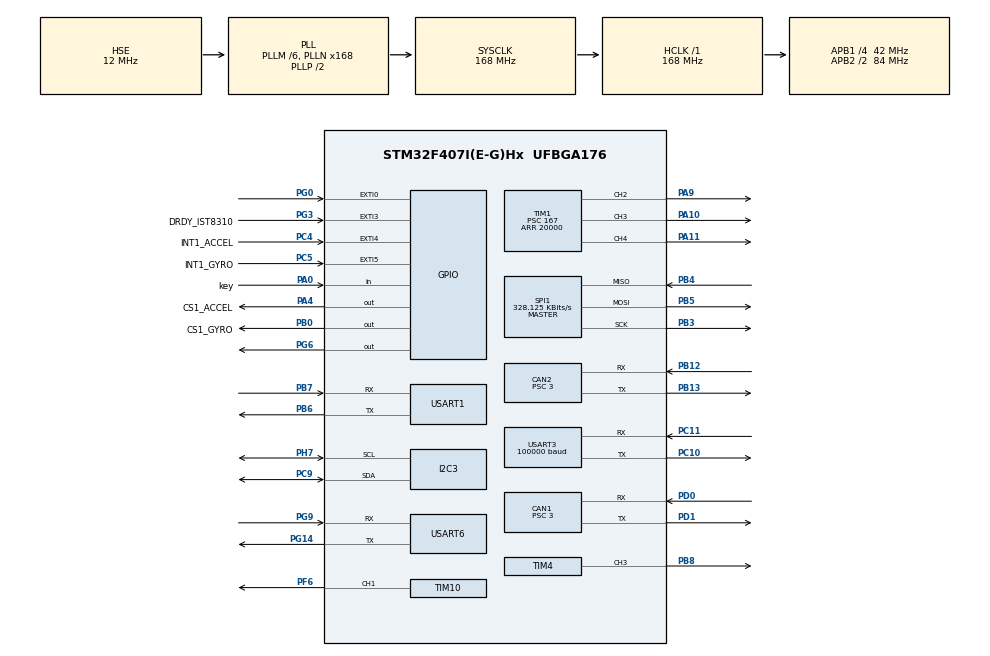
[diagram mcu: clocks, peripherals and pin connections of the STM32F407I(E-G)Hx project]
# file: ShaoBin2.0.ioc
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CAN1.ABOM=ENABLE
CAN1.AWUM=ENABLE
CAN1.BS1=CAN_BS1_9TQ
CAN1.BS2=CAN_BS2_4TQ
CAN1.CalculateBaudRate=1000000
CAN1.CalculateTimeBit=1000
CAN1.CalculateTimeQuantum=71.42857142857143
CAN1.NART=ENABLE
CAN1.Prescaler=3
CAN2.ABOM=ENABLE
CAN2.AWUM=ENABLE
CAN2.BS1=CAN_BS1_9TQ
CAN2.BS2=CAN_BS2_4TQ
CAN2.CalculateBaudRate=1000000
CAN2.CalculateTimeBit=1000
CAN2.CalculateTimeQuantum=71.42857142857143
CAN2.NART=ENABLE
CAN2.Prescaler=3
Dma.Request0=SPI1_RX
Dma.Request1=SPI1_TX
Dma.Request2=USART3_RX
Dma.SPI1_RX.0.Direction=DMA_PERIPH_TO_MEMORY
Dma.SPI1_RX.0.FIFOMode=DMA_FIFOMODE_DISABLE
Dma.SPI1_RX.0.Instance=DMA2_Stream2
Dma.SPI1_RX.0.MemDataAlignment=DMA_MDATAALIGN_BYTE
Dma.SPI1_RX.0.MemInc=DMA_MINC_ENABLE
Dma.SPI1_RX.0.Mode=DMA_NORMAL
Dma.SPI1_RX.0.PeriphDataAlignment=DMA_PDATAALIGN_BYTE
Dma.SPI1_RX.0.PeriphInc=DMA_PINC_DISABLE
Dma.SPI1_RX.0.Priority=DMA_PRIORITY_VERY_HIGH
Dma.SPI1_TX.1.Direction=DMA_MEMORY_TO_PERIPH
Dma.SPI1_TX.1.FIFOMode=DMA_FIFOMODE_DISABLE
Dma.SPI1_TX.1.Instance=DMA2_Stream3
Dma.SPI1_TX.1.MemDataAlignment=DMA_MDATAALIGN_BYTE
Dma.SPI1_TX.1.MemInc=DMA_MINC_ENABLE
Dma.SPI1_TX.1.Mode=DMA_NORMAL
Dma.SPI1_TX.1.PeriphDataAlignment=DMA_PDATAALIGN_BYTE
Dma.SPI1_TX.1.PeriphInc=DMA_PINC_DISABLE
Dma.SPI1_TX.1.Priority=DMA_PRIORITY_HIGH
Dma.USART3_RX.2.Direction=DMA_PERIPH_TO_MEMORY
Dma.USART3_RX.2.FIFOMode=DMA_FIFOMODE_DISABLE
Dma.USART3_RX.2.Instance=DMA1_Stream1
Dma.USART3_RX.2.MemDataAlignment=DMA_MDATAALIGN_BYTE
Dma.USART3_RX.2.MemInc=DMA_MINC_ENABLE
Dma.USART3_RX.2.Mode=DMA_CIRCULAR
Dma.USART3_RX.2.PeriphDataAlignment=DMA_PDATAALIGN_BYTE
Dma.USART3_RX.2.PeriphInc=DMA_PINC_DISABLE
Dma.USART3_RX.2.Priority=DMA_PRIORITY_LOW
FREERTOS.INCLUDE_eTaskGetState=1
FREERTOS.INCLUDE_pcTaskGetTaskName=1
FREERTOS.INCLUDE_uxTaskGetStackHighWaterMark=1
FREERTOS.INCLUDE_uxTaskGetStackHighWaterMark2=1
FREERTOS.INCLUDE_vTaskCleanUpResources=1
FREERTOS.INCLUDE_vTaskDelayUntil=1
FREERTOS.INCLUDE_xQueueGetMutexHolder=1
FREERTOS.INCLUDE_xSemaphoreGetMutexHolder=1
FREERTOS.INCLUDE_xTaskAbortDelay=1
FREERTOS.INCLUDE_xTaskGetCurrentTaskHandle=1
FREERTOS.INCLUDE_xTaskGetHandle=1
FREERTOS.Tasks01=Gimbal,0,128,Gimbal_task,As weak,NULL,Dynamic,NULL,NULL;IMU_Send_Task,2,128,IMU_Send,Default,NULL,Dynamic,NULL,NULL;imuTask,1,512,INS_task,As external,NULL,Dynamic,NULL,NULL;cali,-2,512,calibrate_task,As external,NULL,Dynamic,NULL,NULL;Gimbal1,-2,128,Gimbal1_Task,Default,NULL,Dynamic,NULL,NULL;ControlTask,0,512,Control_Task,Default,NULL,Dynamic,NULL,NULL
I2C3.I2C_Mode=I2C_Fast
Mcu.Family=STM32F4
Mcu.Name=STM32F407I(E-G)Hx
Mcu.Package=UFBGA176
NVIC.CAN1_RX0_IRQn=true\:6\:0\:true\:false\:true\:true\:true\:true\:true
NVIC.CAN1_RX1_IRQn=true\:5\:0\:false\:false\:true\:true\:true\:true\:true
NVIC.CAN2_RX0_IRQn=true\:6\:0\:true\:false\:true\:true\:true\:true\:true
NVIC.CAN2_RX1_IRQn=true\:5\:0\:false\:false\:true\:true\:true\:true\:true
NVIC.DMA1_Stream1_IRQn=true\:5\:0\:false\:false\:true\:true\:false\:true\:true
NVIC.DMA2_Stream2_IRQn=true\:5\:0\:false\:false\:true\:false\:false\:true\:true
NVIC.DMA2_Stream3_IRQn=true\:5\:0\:false\:false\:true\:true\:false\:true\:true
NVIC.EXTI0_IRQn=true\:6\:0\:true\:false\:true\:true\:true\:true\:true
NVIC.EXTI3_IRQn=true\:5\:0\:false\:false\:true\:true\:true\:true\:true
NVIC.EXTI4_IRQn=true\:5\:0\:false\:false\:true\:true\:true\:true\:true
NVIC.EXTI9_5_IRQn=true\:5\:0\:false\:false\:true\:true\:true\:true\:true
NVIC.PriorityGroup=NVIC_PRIORITYGROUP_4
NVIC.TIM6_DAC_IRQn=true\:15\:0\:false\:false\:true\:false\:false\:true\:true
NVIC.TimeBase=TIM6_DAC_IRQn
NVIC.TimeBaseIP=TIM6
NVIC.USART1_IRQn=true\:5\:0\:false\:false\:true\:true\:true\:true\:true
NVIC.USART3_IRQn=true\:5\:0\:false\:false\:true\:true\:true\:true\:true
NVIC.USART6_IRQn=true\:5\:0\:false\:false\:true\:true\:true\:true\:true
PA0-WKUP.GPIO_Label=key
PA0-WKUP.GPIO_PuPd=GPIO_PULLUP
PA0-WKUP.Signal=GPIO_Input
PA10.Signal=S_TIM1_CH3
PA11.Signal=S_TIM1_CH4
PA13.Mode=Serial_Wire
PA13.Signal=SYS_JTMS-SWDIO
PA14.Mode=Serial_Wire
PA14.Signal=SYS_JTCK-SWCLK
PA4.GPIO_Label=CS1_ACCEL
PA4.GPIO_PuPd=GPIO_PULLUP
PA4.GPIO_Speed=GPIO_SPEED_FREQ_HIGH
PA4.PinState=GPIO_PIN_SET
PA4.Signal=GPIO_Output
PA9.Signal=S_TIM1_CH2
PB0.GPIO_Label=CS1_GYRO
PB0.GPIO_PuPd=GPIO_PULLUP
PB0.GPIO_Speed=GPIO_SPEED_FREQ_HIGH
PB0.PinState=GPIO_PIN_SET
PB0.Signal=GPIO_Output
PB12.Mode=CAN_Activate
PB12.Signal=CAN2_RX
PB13.Mode=CAN_Activate
PB13.Signal=CAN2_TX
PB3.Mode=Full_Duplex_Master
PB3.Signal=SPI1_SCK
PB4.Mode=Full_Duplex_Master
PB4.Signal=SPI1_MISO
PB5.Mode=Full_Duplex_Master
PB5.Signal=SPI1_MOSI
PB6.Mode=Asynchronous
PB6.Signal=USART1_TX
PB7.Mode=Asynchronous
PB7.Signal=USART1_RX
PB8.Signal=S_TIM4_CH3
PC10.Mode=Asynchronous
PC10.Signal=USART3_TX
PC11.Mode=Asynchronous
PC11.Signal=USART3_RX
PC4.GPIO_Label=INT1_ACCEL
PC4.GPIO_ModeDefaultEXTI=GPIO_MODE_IT_FALLING
PC4.GPIO_PuPd=GPIO_PULLUP
PC4.Signal=GPXTI4
PC5.GPIO_Label=INT1_GYRO
PC5.GPIO_ModeDefaultEXTI=GPIO_MODE_IT_FALLING
PC5.GPIO_PuPd=GPIO_PULLUP
PC5.Signal=GPXTI5
PC9.Mode=I2C
PC9.Signal=I2C3_SDA
PD0.Mode=CAN_Activate
PD0.Signal=CAN1_RX
PD1.Mode=CAN_Activate
PD1.Signal=CAN1_TX
PF6.Signal=S_TIM10_CH1
PG0.GPIO_ModeDefaultEXTI=GPIO_MODE_IT_FALLING
PG0.GPIO_PuPd=GPIO_PULLUP
PG0.Signal=GPXTI0
PG14.Mode=Asynchronous
PG14.Signal=USART6_TX
PG3.GPIO_Label=DRDY_IST8310
PG3.GPIO_ModeDefaultEXTI=GPIO_MODE_IT_FALLING
PG3.GPIO_PuPd=GPIO_PULLUP
PG3.Signal=GPXTI3
PG6.Signal=GPIO_Output
PG9.Mode=Asynchronous
PG9.Signal=USART6_RX
PH0-OSC_IN.Mode=HSE-External-Oscillator
PH0-OSC_IN.Signal=RCC_OSC_IN
PH1-OSC_OUT.Mode=HSE-External-Oscillator
PH1-OSC_OUT.Signal=RCC_OSC_OUT
PH7.Mode=I2C
PH7.Signal=I2C3_SCL
ProjectManager.HeapSize=0x200
ProjectManager.StackSize=0x400
ProjectManager.TargetToolchain=MDK-ARM V5.32
RCC.48MHZClocksFreq_Value=84000000
RCC.AHBFreq_Value=168000000
RCC.APB1CLKDivider=RCC_HCLK_DIV4
RCC.APB1Freq_Value=42000000
RCC.APB1TimFreq_Value=84000000
RCC.APB2CLKDivider=RCC_HCLK_DIV2
RCC.APB2Freq_Value=84000000
RCC.APB2TimFreq_Value=168000000
RCC.CortexFreq_Value=168000000
RCC.HCLKFreq_Value=168000000
RCC.HSE_VALUE=12000000
RCC.HSI_VALUE=16000000
RCC.LSE_VALUE=32768
RCC.PLLM=6
RCC.PLLN=168
RCC.PLLSourceVirtual=RCC_PLLSOURCE_HSE
RCC.SYSCLKFreq_VALUE=168000000
RCC.SYSCLKSource=RCC_SYSCLKSOURCE_PLLCLK
RCC.VCOOutputFreq_Value=336000000
SH.S_TIM10_CH1.0=TIM10_CH1,PWM Generation1 CH1
SH.S_TIM1_CH2.0=TIM1_CH2,PWM Generation2 CH2
SH.S_TIM1_CH3.0=TIM1_CH3,PWM Generation3 CH3
SH.S_TIM1_CH4.0=TIM1_CH4,PWM Generation4 CH4
SH.S_TIM4_CH3.0=TIM4_CH3,PWM Generation3 CH3
SPI1.BaudRatePrescaler=SPI_BAUDRATEPRESCALER_256
SPI1.CLKPhase=SPI_PHASE_2EDGE
SPI1.CLKPolarity=SPI_POLARITY_HIGH
SPI1.CalculateBaudRate=328.125 KBits/s
SPI1.Direction=SPI_DIRECTION_2LINES
SPI1.Mode=SPI_MODE_MASTER
SPI1.VirtualType=VM_MASTER
TIM1.Channel-PWM\ Generation2\ CH2=TIM_CHANNEL_2
TIM1.Channel-PWM\ Generation3\ CH3=TIM_CHANNEL_3
TIM1.Channel-PWM\ Generation4\ CH4=TIM_CHANNEL_4
TIM1.Period=20000
TIM1.Prescaler=167
TIM10.Channel=TIM_CHANNEL_1
TIM10.Period=0
TIM4.Channel-PWM\ Generation3\ CH3=TIM_CHANNEL_3
TIM4.Period=370
TIM4.Prescaler=130
USART1.VirtualMode=VM_ASYNC
USART3.BaudRate=100000
USART3.Parity=PARITY_EVEN
USART3.VirtualMode=VM_ASYNC
USART3.WordLength=WORDLENGTH_9B
USART6.VirtualMode=VM_ASYNC
VP_FREERTOS_VS_CMSIS_V1.Mode=CMSIS_V1
VP_SYS_VS_tim6.Mode=TIM6
VP_TIM10_VS_ClockSourceINT.Mode=Enable_Timer
VP_TIM4_VS_ClockSourceINT.Mode=Internal
board=custom

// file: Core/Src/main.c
/* USER CODE BEGIN Header */
/**
  ******************************************************************************
  * @file           : main.c
  * @brief          : Main program body
  ******************************************************************************
  * @attention
  *
  * Copyright (c) 2024 STMicroelectronics.
  * All rights reserved.
  *
  * This software is licensed under terms that can be found in the LICENSE file
  * in the root directory of this software component.
  * If no LICENSE file comes with this software, it is provided AS-IS.
  *
  ******************************************************************************
  */
/* USER CODE END Header */
#include "main.h"
#include "cmsis_os.h"
#include "can.h"
#include "dma.h"
#include "i2c.h"
#include "spi.h"
#include "tim.h"
#include "usart.h"
#include "gpio.h"

/* USER CODE BEGIN Includes */
#include "BMI088driver.h"
#include "bsp_delay.h"
#include "bsp_delay.h"
#include "bsp.can.h"
#include "INS_task.h"
#include "DJI_IMU.h"
#include "user_can.h"
#include "bsp_buzzer.h"
#include "ist8310driver.h"
#include "Gimbal_task.h"
#include "PID.h"
#include "pid.h"
#include "CAN_receive.h"
#include <math.h>
#include "bsp_can_DM.h"
#include "dr16.h"
#include "bsp_usart.h"
#include "custom_ctrl.h"
/* USER CODE END Includes */

/* USER CODE BEGIN PD */
  static CAN_TxHeaderTypeDef   Tx_Header;
/* USER CODE END PD */

void SystemClock_Config(void);
void MX_FREERTOS_Init(void);

int main(void)
{

  /* MCU Configuration--------------------------------------------------------*/

  /* Reset of all peripherals, Initializes the Flash interface and the Systick. */
  HAL_Init();

  /* Configure the system clock */
  SystemClock_Config();

  /* Initialize all configured peripherals */
  MX_GPIO_Init();
  MX_DMA_Init();
  MX_CAN1_Init();
  MX_CAN2_Init();
  MX_I2C3_Init();
  MX_SPI1_Init();
  MX_TIM1_Init();
  MX_TIM4_Init();
  MX_TIM10_Init();
  MX_USART3_UART_Init();
  MX_USART6_UART_Init();
  MX_USART1_UART_Init();
  /* USER CODE BEGIN 2 */
	// 开启 CAN1 硬件自动离线恢复
hcan1.Instance->MCR |= CAN_MCR_ABOM;
   delay_init();
  can_filter_init();
	HAL_Delay(1000);
	Motor_enable();
	RC_Init();
  Custom_Ctrl_Init();
  /* USER CODE END 2 */

  /* Call init function for freertos objects (in freertos.c) */
  MX_FREERTOS_Init();

  /* Start scheduler */
  osKernelStart();
  /* We should never get here as control is now taken by the scheduler */
  /* Infinite loop */
  while (1)
  {

		}
}

void SystemClock_Config(void)
{
  RCC_OscInitTypeDef RCC_OscInitStruct = {0};
  RCC_ClkInitTypeDef RCC_ClkInitStruct = {0};

  /** Configure the main internal regulator output voltage
  */
  __HAL_RCC_PWR_CLK_ENABLE();
  __HAL_PWR_VOLTAGESCALING_CONFIG(PWR_REGULATOR_VOLTAGE_SCALE1);

  /** Initializes the RCC Oscillators according to the specified parameters
  * in the RCC_OscInitTypeDef structure.
  */
  RCC_OscInitStruct.OscillatorType = RCC_OSCILLATORTYPE_HSE;
  RCC_OscInitStruct.HSEState = RCC_HSE_ON;
  RCC_OscInitStruct.PLL.PLLState = RCC_PLL_ON;
  RCC_OscInitStruct.PLL.PLLSource = RCC_PLLSOURCE_HSE;
  RCC_OscInitStruct.PLL.PLLM = 6;
  RCC_OscInitStruct.PLL.PLLN = 168;
  RCC_OscInitStruct.PLL.PLLP = RCC_PLLP_DIV2;
  RCC_OscInitStruct.PLL.PLLQ = 4;
  if (HAL_RCC_OscConfig(&RCC_OscInitStruct) != HAL_OK)
  {
    Error_Handler();
  }

  /** Initializes the CPU, AHB and APB buses clocks
  */
  RCC_ClkInitStruct.ClockType = RCC_CLOCKTYPE_HCLK|RCC_CLOCKTYPE_SYSCLK
                              |RCC_CLOCKTYPE_PCLK1|RCC_CLOCKTYPE_PCLK2;
  RCC_ClkInitStruct.SYSCLKSource = RCC_SYSCLKSOURCE_PLLCLK;
  RCC_ClkInitStruct.AHBCLKDivider = RCC_SYSCLK_DIV1;
  RCC_ClkInitStruct.APB1CLKDivider = RCC_HCLK_DIV4;
  RCC_ClkInitStruct.APB2CLKDivider = RCC_HCLK_DIV2;

  if (HAL_RCC_ClockConfig(&RCC_ClkInitStruct, FLASH_LATENCY_5) != HAL_OK)
  {
    Error_Handler();
  }
}

/* USER CODE BEGIN 4 */
/**
 * @brief  ���ͱ�׼ID������֡
 * @param  hcan     CAN�ľ��
 * @param  ID       ����֡ID
 * @param  pData    ����ָ��
 * @param  Len      �ֽ���0~8
 */
uint8_t CANx_SendStdData(CAN_HandleTypeDef* hcan,uint16_t ID,uint8_t *pData,uint16_t Len)
{

	Tx_Header.StdId=ID;
	Tx_Header.ExtId=0;
	Tx_Header.IDE=0;
	Tx_Header.RTR=0;
	Tx_Header.DLC=Len;

        /*�ҵ��յķ������䣬�����ݷ��ͳ�ȥ*/
	if(HAL_CAN_AddTxMessage(hcan, &Tx_Header, pData, (uint32_t*)CAN_TX_MAILBOX0) != HAL_OK) //
	{
		if(HAL_CAN_AddTxMessage(hcan, &Tx_Header, pData, (uint32_t*)CAN_TX_MAILBOX1) != HAL_OK)
		{
			HAL_CAN_AddTxMessage(hcan, &Tx_Header, pData, (uint32_t*)CAN_TX_MAILBOX2);
        }
    }
    return 0;
}
/* USER CODE END 4 */

void HAL_TIM_PeriodElapsedCallback(TIM_HandleTypeDef *htim)
{
  if (htim->Instance == TIM6) {
    HAL_IncTick();
  }
}

void Error_Handler(void)
{
  __disable_irq();
  while (1)
  {
  }
}

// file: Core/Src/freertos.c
/* USER CODE BEGIN Header */
/**
  ******************************************************************************
  * File Name          : freertos.c
  * Description        : Code for freertos applications
  ******************************************************************************
  * @attention
  *
  * Copyright (c) 2024 STMicroelectronics.
  * All rights reserved.
  *
  * This software is licensed under terms that can be found in the LICENSE file
  * in the root directory of this software component.
  * If no LICENSE file comes with this software, it is provided AS-IS.
  *
  ******************************************************************************
  */
/* USER CODE END Header */

#include "FreeRTOS.h"
#include "task.h"
#include "main.h"
#include "cmsis_os.h"

/* USER CODE BEGIN Includes */
#include "BMI088driver.h"
#include "bsp_delay.h"
#include "math.h"
#include "bsp_delay.h"
#include "INS_task.h"
#include "DJI_IMU.h"
#include "user_can.h"
#include "bsp_buzzer.h"
#include "calibrate_task.h"
#include "main.h"
#include "Gimbal_task.h"
#include "pid.h"
#include "CAN_receive.h"
#include "PID.h"
#include "can.h"
#include "bsp_can_DM.h"
/* USER CODE END Includes */

/* USER CODE BEGIN PTD */
extern uint8_t Data[];
extern uint8_t Data2[];
extern void Control_Task(void const * argument);

/* USER CODE END PTD */

osThreadId GimbalHandle;
osThreadId IMU_Send_TaskHandle;
osThreadId imuTaskHandle;
osThreadId caliHandle;
osThreadId Gimbal1Handle;
osThreadId ControlTaskHandle;

void Gimbal_task(void const * argument);
void IMU_Send(void const * argument);
extern void INS_task(void const * argument);
extern void calibrate_task(void const * argument);
void Gimbal1_Task(void const * argument);
void Control_Task(void const * argument);

void MX_FREERTOS_Init(void); /* (MISRA C 2004 rule 8.1) */

/* GetIdleTaskMemory prototype (linked to static allocation support) */
void vApplicationGetIdleTaskMemory( StaticTask_t **ppxIdleTaskTCBBuffer, StackType_t **ppxIdleTaskStackBuffer, uint32_t *pulIdleTaskStackSize );

/* USER CODE BEGIN GET_IDLE_TASK_MEMORY */
static StaticTask_t xIdleTaskTCBBuffer;
static StackType_t xIdleStack[configMINIMAL_STACK_SIZE];

void vApplicationGetIdleTaskMemory( StaticTask_t **ppxIdleTaskTCBBuffer, StackType_t **ppxIdleTaskStackBuffer, uint32_t *pulIdleTaskStackSize )
{
  *ppxIdleTaskTCBBuffer = &xIdleTaskTCBBuffer;
  *ppxIdleTaskStackBuffer = &xIdleStack[0];
  *pulIdleTaskStackSize = configMINIMAL_STACK_SIZE;
  /* place for user code */
}
/* USER CODE END GET_IDLE_TASK_MEMORY */

void MX_FREERTOS_Init(void) {

  /* Create the thread(s) */
  /* definition and creation of Gimbal */
  osThreadDef(Gimbal, Gimbal_task, osPriorityNormal, 0, 128);
  GimbalHandle = osThreadCreate(osThread(Gimbal), NULL);

  /* definition and creation of IMU_Send_Task */
  osThreadDef(IMU_Send_Task, IMU_Send, osPriorityHigh, 0, 128);
  IMU_Send_TaskHandle = osThreadCreate(osThread(IMU_Send_Task), NULL);

  /* definition and creation of imuTask */
  osThreadDef(imuTask, INS_task, osPriorityAboveNormal, 0, 512);
  imuTaskHandle = osThreadCreate(osThread(imuTask), NULL);

  /* definition and creation of cali */
  osThreadDef(cali, calibrate_task, osPriorityLow, 0, 512);
  caliHandle = osThreadCreate(osThread(cali), NULL);

  /* definition and creation of Gimbal1 */
  osThreadDef(Gimbal1, Gimbal1_Task, osPriorityLow, 0, 128);
  Gimbal1Handle = osThreadCreate(osThread(Gimbal1), NULL);

  /* definition and creation of ControlTask */
  osThreadDef(ControlTask, Control_Task, osPriorityNormal, 0, 512);
  ControlTaskHandle = osThreadCreate(osThread(ControlTask), NULL);

}

__weak void Gimbal_task(void const * argument)
{
  for(;;)
  {
    osDelay(1);
  }
}

void IMU_Send(void const * argument)
{
  /* USER CODE BEGIN IMU_Send */

	portTickType xLastWakeTime;
	xLastWakeTime = xTaskGetTickCount();
	const TickType_t TimeIncrement = pdMS_TO_TICKS(1);
  /* Infinite loop */
  for(;;)
  {
		if(cali_sensor[0].cali_done == CALIED_FLAG && cali_sensor[0].cali_cmd == 0)
		{
			//���������ǽǶ�
//			Euler_Fun();
			Euler_Send.yaw = INS_angle[0];
			Euler_Send.pitch = INS_angle[1];
			Euler_Send_Fun(Euler_Send);
			//���ٶ�
			Gyro_Send.Gyro_z = INS_gyro[2];
			Gyro_Send.Gyro_y = INS_gyro[1];
			Gyro_Send_Fun(Gyro_Send);
//			YawAG_Send.yaw    = INS_angle[0];
//			YawAG_Send.Gyro_z = INS_gyro[2];
//			YawAG_Send_Fun(YawAG_Send);

		}
    vTaskDelayUntil(&xLastWakeTime, TimeIncrement);
  }

//    osDelay(1);

  /* USER CODE END IMU_Send */
}

void Gimbal1_Task(void const * argument)
{
  /* USER CODE BEGIN Gimbal1_Task */
  /* Infinite loop */

  for(;;)
  {
//		Motor_control();
    osDelay(1);
	}
  /* USER CODE END Gimbal1_Task */
}

void Control_Task(void const * argument)
{
  /* USER CODE BEGIN Control_Task */
//////  /* Infinite loop */
//////  for(;;)
//////  {
//////    osDelay(1);
//////  }
  /* USER CODE END Control_Task */
}
